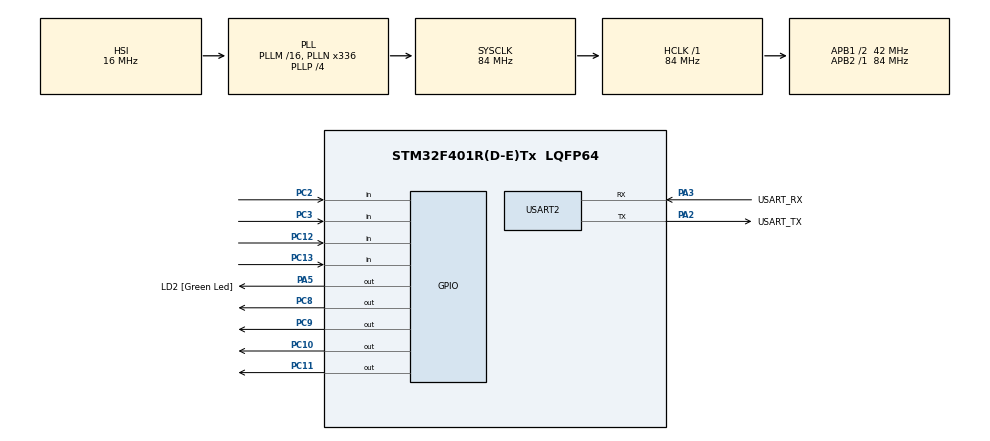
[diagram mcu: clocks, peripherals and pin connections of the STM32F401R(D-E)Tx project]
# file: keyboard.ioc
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Dma.Request0=USART2_TX
Dma.USART2_TX.0.Direction=DMA_MEMORY_TO_PERIPH
Dma.USART2_TX.0.FIFOMode=DMA_FIFOMODE_DISABLE
Dma.USART2_TX.0.Instance=DMA1_Stream6
Dma.USART2_TX.0.MemDataAlignment=DMA_MDATAALIGN_BYTE
Dma.USART2_TX.0.MemInc=DMA_MINC_ENABLE
Dma.USART2_TX.0.Mode=DMA_NORMAL
Dma.USART2_TX.0.PeriphDataAlignment=DMA_PDATAALIGN_BYTE
Dma.USART2_TX.0.PeriphInc=DMA_PINC_DISABLE
Dma.USART2_TX.0.Priority=DMA_PRIORITY_LOW
Mcu.Family=STM32F4
Mcu.Name=STM32F401R(D-E)Tx
Mcu.Package=LQFP64
NVIC.DMA1_Stream6_IRQn=true\:0\:0\:false\:false\:true\:false\:true\:true
NVIC.PriorityGroup=NVIC_PRIORITYGROUP_4
NVIC.TIM2_IRQn=true\:0\:0\:false\:false\:true\:true\:true\:true
NVIC.USART2_IRQn=true\:0\:0\:false\:false\:true\:true\:true\:true
PA13.GPIO_Label=TMS
PA13.Mode=Trace_Asynchronous_SW
PA13.Signal=SYS_JTMS-SWDIO
PA14.GPIO_Label=TCK
PA14.Mode=Trace_Asynchronous_SW
PA14.Signal=SYS_JTCK-SWCLK
PA2.GPIO_Label=USART_TX
PA2.GPIO_Mode=GPIO_MODE_AF_PP
PA2.GPIO_PuPd=GPIO_NOPULL
PA2.GPIO_Speed=GPIO_SPEED_FREQ_LOW
PA2.Mode=Asynchronous
PA2.Signal=USART2_TX
PA3.GPIO_Label=USART_RX
PA3.GPIO_Mode=GPIO_MODE_AF_PP
PA3.GPIO_PuPd=GPIO_NOPULL
PA3.GPIO_Speed=GPIO_SPEED_FREQ_LOW
PA3.Mode=Asynchronous
PA3.Signal=USART2_RX
PA5.GPIO_Label=LD2 [Green Led]
PA5.GPIO_Mode=GPIO_MODE_OUTPUT_PP
PA5.GPIO_PuPd=GPIO_NOPULL
PA5.GPIO_Speed=GPIO_SPEED_FREQ_LOW
PA5.Signal=GPIO_Output
PB3.GPIO_Label=SWO
PB3.Mode=Trace_Asynchronous_SW
PB3.Signal=SYS_JTDO-SWO
PC10.Signal=GPIO_Output
PC11.Signal=GPIO_Output
PC12.GPIO_PuPd=GPIO_NOPULL
PC12.Signal=GPIO_Input
PC13-ANTI_TAMP.GPIO_PuPd=GPIO_NOPULL
PC13-ANTI_TAMP.Signal=GPIO_Input
PC14-OSC32_IN.Mode=LSE-External-Oscillator
PC14-OSC32_IN.Signal=RCC_OSC32_IN
PC15-OSC32_OUT.Mode=LSE-External-Oscillator
PC15-OSC32_OUT.Signal=RCC_OSC32_OUT
PC2.GPIO_PuPd=GPIO_NOPULL
PC2.Signal=GPIO_Input
PC3.GPIO_PuPd=GPIO_NOPULL
PC3.Signal=GPIO_Input
PC8.GPIO_PuPd=GPIO_NOPULL
PC8.Signal=GPIO_Output
PC9.Signal=GPIO_Output
PH0\ -\ OSC_IN.Mode=HSE-External-Clock-Source
PH0\ -\ OSC_IN.Signal=RCC_OSC_IN
PH1\ -\ OSC_OUT.Mode=HSE-External-Clock-Source
PH1\ -\ OSC_OUT.Signal=RCC_OSC_OUT
ProjectManager.HeapSize=0x200
ProjectManager.StackSize=0x400
ProjectManager.TargetToolchain=STM32CubeIDE
RCC.48MHZClocksFreq_Value=48000000
RCC.AHBFreq_Value=84000000
RCC.APB1CLKDivider=RCC_HCLK_DIV2
RCC.APB1Freq_Value=42000000
RCC.APB1TimFreq_Value=84000000
RCC.APB2Freq_Value=84000000
RCC.APB2TimFreq_Value=84000000
RCC.CortexFreq_Value=84000000
RCC.HCLKFreq_Value=84000000
RCC.HSE_VALUE=8000000
RCC.HSI_VALUE=16000000
RCC.PLLN=336
RCC.PLLP=RCC_PLLP_DIV4
RCC.PLLQ=7
RCC.SYSCLKFreq_VALUE=84000000
RCC.SYSCLKSource=RCC_SYSCLKSOURCE_PLLCLK
RCC.VCOOutputFreq_Value=336000000
TIM2.Period=4000 - 1
TIM2.Prescaler=84 - 1
USART2.VirtualMode=VM_ASYNC
VP_TIM2_VS_ClockSourceINT.Mode=Internal
board=NUCLEO-F401RE

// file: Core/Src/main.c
/* USER CODE BEGIN Header */
/**
  ******************************************************************************
  * @file           : main.c
  * @brief          : Main program body
  ******************************************************************************
  * @attention
  *
  * Copyright (c) 2025 STMicroelectronics.
  * All rights reserved.
  *
  * This software is licensed under terms that can be found in the LICENSE file
  * in the root directory of this software component.
  * If no LICENSE file comes with this software, it is provided AS-IS.
  *
  ******************************************************************************
  */
/* USER CODE END Header */
#include "main.h"

/* USER CODE BEGIN Includes */
#define READ_ROW_1_PIN GPIO_PIN_12
#define READ_ROW_2_PIN GPIO_PIN_13
#define READ_ROW_3_PIN GPIO_PIN_2
#define READ_ROW_4_PIN GPIO_PIN_3

#define COLUMN_DRIVER_1_PIN GPIO_PIN_8
#define COLUMN_DRIVER_2_PIN GPIO_PIN_9
#define COLUMN_DRIVER_3_PIN GPIO_PIN_10
#define COLUMN_DRIVER_4_PIN GPIO_PIN_11
/* USER CODE END Includes */

TIM_HandleTypeDef htim2;

UART_HandleTypeDef huart2;
DMA_HandleTypeDef hdma_usart2_tx;

/* USER CODE BEGIN PV */
uint8_t count = 0;
uint8_t debounce_array[4][4] = {0};
uint8_t pressed[4][4] = {0};

uint16_t COL_PINS[] = {COLUMN_DRIVER_1_PIN, COLUMN_DRIVER_2_PIN, COLUMN_DRIVER_3_PIN, COLUMN_DRIVER_4_PIN};
uint16_t ROW_PINS[] = {READ_ROW_1_PIN, READ_ROW_2_PIN, READ_ROW_3_PIN, READ_ROW_4_PIN};
/* USER CODE END PV */

void SystemClock_Config(void);
static void MX_GPIO_Init(void);
static void MX_DMA_Init(void);
static void MX_USART2_UART_Init(void);
static void MX_TIM2_Init(void);
/* USER CODE BEGIN PFP */

void HAL_TIM_PeriodElapsedCallback(TIM_HandleTypeDef *htim){
	if(htim->Instance == TIM2){
    	for (int i = 0; i<4; i++){
    		uint8_t read = HAL_GPIO_ReadPin(GPIOC, ROW_PINS[i]);
    		if(pressed[count][i] == 0){
    			if(read == 0 && debounce_array[count][i] < 10){
    				debounce_array[count][i]++;
    				if(debounce_array[count][i] == 10){
    					pressed[count][i] = 1;
    					char string[64];
    					int length = snprintf(string, sizeof(string), "Key pressed at (x,y): (%d,%d) of keyboard\n", count+1, i+1);
    					HAL_UART_Transmit_DMA(&huart2, (uint8_t*)string, length);
    				}
    			}else if(read == 1){
    				debounce_array[count][i] = 0; //Start to count from begin if noise for key press
    			}
    		}else if(pressed[count][i] == 1 && debounce_array[count][i] > 0 && read==1){
    			if(read==1 && debounce_array[count][i] > 0){
    				debounce_array[count][i]--;
    				if(debounce_array[count][i] == 0){
    					pressed[count][i] = 0;
    					char string[64];
    					int length = snprintf(string, sizeof(string), "Key released at (x,y): (%d,%d) of keyboard\n", count+1, i+1);
    					HAL_UART_Transmit_DMA(&huart2, (uint8_t*)string, length);
    				}
    			}else if(read == 0){
    				debounce_array[count][i] = 10; //Start to count from begin if noise for key release
    			}
    		}
    	}
    	int prev_col = (count == 0) ? 3 : count - 1;
    		HAL_GPIO_WritePin(GPIOC, COL_PINS[prev_col], 0);
    		HAL_GPIO_WritePin(GPIOC, COL_PINS[count], 1);
    	count++;
    	if (count > 3) count = 0;
    }
}
/* USER CODE END PFP */

int main(void)
{

  /* MCU Configuration--------------------------------------------------------*/

  /* Reset of all peripherals, Initializes the Flash interface and the Systick. */
  HAL_Init();

  /* Configure the system clock */
  SystemClock_Config();

  /* Initialize all configured peripherals */
  MX_GPIO_Init();
  MX_DMA_Init();
  MX_USART2_UART_Init();
  MX_TIM2_Init();
  /* USER CODE BEGIN 2 */
  HAL_TIM_Base_Start_IT(&htim2);

  HAL_GPIO_WritePin(GPIOC, COLUMN_DRIVER_1_PIN, 0);
  HAL_GPIO_WritePin(GPIOC, COLUMN_DRIVER_2_PIN, 0);
  HAL_GPIO_WritePin(GPIOC, COLUMN_DRIVER_3_PIN, 0);
  HAL_GPIO_WritePin(GPIOC, COLUMN_DRIVER_4_PIN, 0);
  /* USER CODE END 2 */

  /* Infinite loop */
  while (1)
  {

  }
}

void SystemClock_Config(void)
{
  RCC_OscInitTypeDef RCC_OscInitStruct = {0};
  RCC_ClkInitTypeDef RCC_ClkInitStruct = {0};

  /** Configure the main internal regulator output voltage
  */
  __HAL_RCC_PWR_CLK_ENABLE();
  __HAL_PWR_VOLTAGESCALING_CONFIG(PWR_REGULATOR_VOLTAGE_SCALE2);

  /** Initializes the RCC Oscillators according to the specified parameters
  * in the RCC_OscInitTypeDef structure.
  */
  RCC_OscInitStruct.OscillatorType = RCC_OSCILLATORTYPE_HSI;
  RCC_OscInitStruct.HSIState = RCC_HSI_ON;
  RCC_OscInitStruct.HSICalibrationValue = RCC_HSICALIBRATION_DEFAULT;
  RCC_OscInitStruct.PLL.PLLState = RCC_PLL_ON;
  RCC_OscInitStruct.PLL.PLLSource = RCC_PLLSOURCE_HSI;
  RCC_OscInitStruct.PLL.PLLM = 16;
  RCC_OscInitStruct.PLL.PLLN = 336;
  RCC_OscInitStruct.PLL.PLLP = RCC_PLLP_DIV4;
  RCC_OscInitStruct.PLL.PLLQ = 7;
  if (HAL_RCC_OscConfig(&RCC_OscInitStruct) != HAL_OK)
  {
    Error_Handler();
  }

  /** Initializes the CPU, AHB and APB buses clocks
  */
  RCC_ClkInitStruct.ClockType = RCC_CLOCKTYPE_HCLK|RCC_CLOCKTYPE_SYSCLK
                              |RCC_CLOCKTYPE_PCLK1|RCC_CLOCKTYPE_PCLK2;
  RCC_ClkInitStruct.SYSCLKSource = RCC_SYSCLKSOURCE_PLLCLK;
  RCC_ClkInitStruct.AHBCLKDivider = RCC_SYSCLK_DIV1;
  RCC_ClkInitStruct.APB1CLKDivider = RCC_HCLK_DIV2;
  RCC_ClkInitStruct.APB2CLKDivider = RCC_HCLK_DIV1;

  if (HAL_RCC_ClockConfig(&RCC_ClkInitStruct, FLASH_LATENCY_2) != HAL_OK)
  {
    Error_Handler();
  }
}

static void MX_TIM2_Init(void)
{

  TIM_ClockConfigTypeDef sClockSourceConfig = {0};
  TIM_MasterConfigTypeDef sMasterConfig = {0};

  htim2.Instance = TIM2;
  htim2.Init.Prescaler = 84 - 1;
  htim2.Init.CounterMode = TIM_COUNTERMODE_UP;
  htim2.Init.Period = 4000 - 1;
  htim2.Init.ClockDivision = TIM_CLOCKDIVISION_DIV1;
  htim2.Init.AutoReloadPreload = TIM_AUTORELOAD_PRELOAD_DISABLE;
  if (HAL_TIM_Base_Init(&htim2) != HAL_OK)
  {
    Error_Handler();
  }
  sClockSourceConfig.ClockSource = TIM_CLOCKSOURCE_INTERNAL;
  if (HAL_TIM_ConfigClockSource(&htim2, &sClockSourceConfig) != HAL_OK)
  {
    Error_Handler();
  }
  sMasterConfig.MasterOutputTrigger = TIM_TRGO_RESET;
  sMasterConfig.MasterSlaveMode = TIM_MASTERSLAVEMODE_DISABLE;
  if (HAL_TIMEx_MasterConfigSynchronization(&htim2, &sMasterConfig) != HAL_OK)
  {
    Error_Handler();
  }

}

static void MX_USART2_UART_Init(void)
{

  huart2.Instance = USART2;
  huart2.Init.BaudRate = 115200;
  huart2.Init.WordLength = UART_WORDLENGTH_8B;
  huart2.Init.StopBits = UART_STOPBITS_1;
  huart2.Init.Parity = UART_PARITY_NONE;
  huart2.Init.Mode = UART_MODE_TX_RX;
  huart2.Init.HwFlowCtl = UART_HWCONTROL_NONE;
  huart2.Init.OverSampling = UART_OVERSAMPLING_16;
  if (HAL_UART_Init(&huart2) != HAL_OK)
  {
    Error_Handler();
  }

}

static void MX_DMA_Init(void)
{

  /* DMA controller clock enable */
  __HAL_RCC_DMA1_CLK_ENABLE();

  /* DMA interrupt init */
  /* DMA1_Stream6_IRQn interrupt configuration */
  HAL_NVIC_SetPriority(DMA1_Stream6_IRQn, 0, 0);
  HAL_NVIC_EnableIRQ(DMA1_Stream6_IRQn);

}

static void MX_GPIO_Init(void)
{
  GPIO_InitTypeDef GPIO_InitStruct = {0};

  /* GPIO Ports Clock Enable */
  __HAL_RCC_GPIOC_CLK_ENABLE();
  __HAL_RCC_GPIOH_CLK_ENABLE();
  __HAL_RCC_GPIOA_CLK_ENABLE();
  __HAL_RCC_GPIOB_CLK_ENABLE();

  /*Configure GPIO pin Output Level */
  HAL_GPIO_WritePin(LD2_GPIO_Port, LD2_Pin, GPIO_PIN_RESET);

  /*Configure GPIO pin Output Level */
  HAL_GPIO_WritePin(GPIOC, GPIO_PIN_8|GPIO_PIN_9|GPIO_PIN_10|GPIO_PIN_11, GPIO_PIN_RESET);

  /*Configure GPIO pins : PC13 PC2 PC3 PC12 */
  GPIO_InitStruct.Pin = GPIO_PIN_13|GPIO_PIN_2|GPIO_PIN_3|GPIO_PIN_12;
  GPIO_InitStruct.Mode = GPIO_MODE_INPUT;
  GPIO_InitStruct.Pull = GPIO_NOPULL;
  HAL_GPIO_Init(GPIOC, &GPIO_InitStruct);

  /*Configure GPIO pin : LD2_Pin */
  GPIO_InitStruct.Pin = LD2_Pin;
  GPIO_InitStruct.Mode = GPIO_MODE_OUTPUT_PP;
  GPIO_InitStruct.Pull = GPIO_NOPULL;
  GPIO_InitStruct.Speed = GPIO_SPEED_FREQ_LOW;
  HAL_GPIO_Init(LD2_GPIO_Port, &GPIO_InitStruct);

  /*Configure GPIO pins : PC8 PC9 PC10 PC11 */
  GPIO_InitStruct.Pin = GPIO_PIN_8|GPIO_PIN_9|GPIO_PIN_10|GPIO_PIN_11;
  GPIO_InitStruct.Mode = GPIO_MODE_OUTPUT_PP;
  GPIO_InitStruct.Pull = GPIO_NOPULL;
  GPIO_InitStruct.Speed = GPIO_SPEED_FREQ_LOW;
  HAL_GPIO_Init(GPIOC, &GPIO_InitStruct);

}

void Error_Handler(void)
{
  __disable_irq();
  while (1)
  {
  }
}
